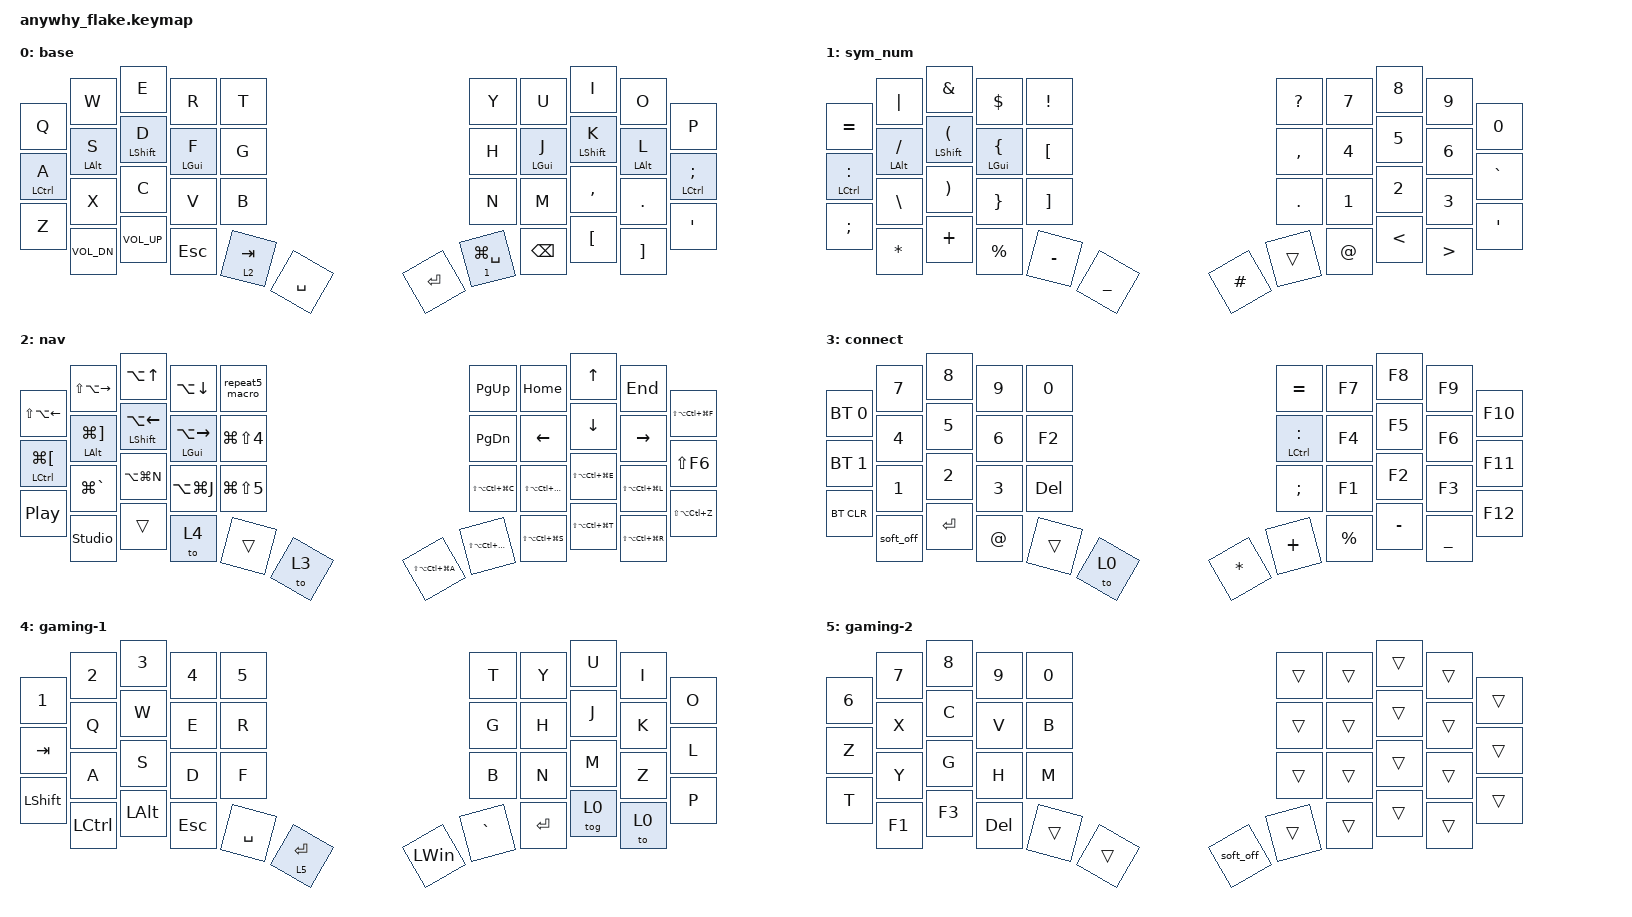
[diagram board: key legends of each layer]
#include <behaviors.dtsi>
#include <dt-bindings/zmk/bt.h>
#include <dt-bindings/zmk/keys.h>

/ {
    combos {
        compatible = "zmk,combos";

        bt_sel_3 {
            bindings = <&bt3>;
            key-positions = <42 30>;
            layers = <2>;
        };

        bt_sel_4 {
            bindings = <&bt4>;
            key-positions = <30 18>;
            layers = <2>;
        };
    };

    macros {
        lm: lm {
            compatible = "zmk,behavior-macro-two-param";
            wait-ms = <0>;
            tap-ms = <0>;
            #binding-cells = <2>;
            bindings =
                <&macro_param_1to1>,
                <&macro_press>,
                <&mo MACRO_PLACEHOLDER &macro_param_2to1>,
                <&macro_press>,
                <&kp MACRO_PLACEHOLDER>,
                <&macro_pause_for_release>,
                <&macro_param_2to1>,
                <&macro_release>,
                <&kp MACRO_PLACEHOLDER &macro_param_1to1>,
                <&macro_release>,
                <&mo MACRO_PLACEHOLDER>;
        };

        repeat5_macro: repeat5_macro {
            compatible = "zmk,behavior-macro";
            #binding-cells = <0>;
            bindings = <&key_repeat &key_repeat &key_repeat &key_repeat &key_repeat>;
            label = "REPEAT5_MACRO";
        };

        switch_to_ru: switch_to_ru {
            compatible = "zmk,behavior-macro";
            label = "SWITCH_TO_RU";
            #binding-cells = <0>;
            bindings = <&tog 3 &kp LG(SPACE)>;
        };

        switch_to_en: switch_to_en {
            compatible = "zmk,behavior-macro";
            label = "SWITCH_TO_EN";
            #binding-cells = <0>;
            bindings = <&tog 0 &kp LG(SPACE)>;
        };

        bt_clr_0: bt_clr_0 {
            compatible = "zmk,behavior-macro";
            #binding-cells = <0>;
            bindings = <&bt BT_SEL 0 &bt BT_CLR>;
            label = "BT_CLR_0";
        };

        bt_clr_1: bt_clr_1 {
            compatible = "zmk,behavior-macro";
            #binding-cells = <0>;
            bindings = <&bt BT_SEL 1 &bt BT_CLR>;
            label = "BT_CLR_1";
        };

        bt_clr_2: bt_clr_2 {
            compatible = "zmk,behavior-macro";
            #binding-cells = <0>;
            bindings = <&bt BT_SEL 2 &bt BT_CLR>;
            label = "BT_CLR_2";
        };

        bt_clr_3: bt_clr_3 {
            compatible = "zmk,behavior-macro";
            #binding-cells = <0>;
            bindings = <&bt BT_SEL 3 &bt BT_CLR>;
            label = "BT_CLR_3";
        };

        bt_clr_4: bt_clr_4 {
            compatible = "zmk,behavior-macro";
            #binding-cells = <0>;
            bindings = <&bt BT_SEL 4 &bt BT_CLR>;
            label = "BT_CLR_4";
        };

        layer_tap_lang: layer_tap_lang {
            compatible = "zmk,behavior-macro-one-param";
            #binding-cells = <1>;
            label = "LAYER_TAP_LANG";
            wait-ms = <0>;
            tap-ms = <0>;
            bindings =
                <&macro_press>,
                <&kp LCTRL &kp LALT>,
                <&macro_tap>,
                <&kp N1>,
                <&macro_release>,
                <&kp LCTRL &kp LALT &macro_param_1to1>,
                <&macro_press>,
                <&mo MACRO_PLACEHOLDER>,
                <&macro_pause_for_release>,
                <&macro_param_1to1>,
                <&macro_release>,
                <&mo MACRO_PLACEHOLDER>,
                <&macro_press>,
                <&kp LCTRL &kp LALT>,
                <&macro_tap>,
                <&kp N3>,
                <&macro_release>,
                <&kp LCTRL &kp LALT>;

            /*
                Hammerspoon script:
                local previousLayout = nil

                function switchToInputSource(layoutName)
                    local currentLayout = hs.keycodes.currentLayout()

                    if currentLayout == layoutName then
                        return
                    end

                    local availableLayouts = hs.keycodes.layouts()

                    for _, layout in ipairs(availableLayouts) do
                        if layout == layoutName then
                            previousLayout = currentLayout
                            hs.keycodes.setLayout(layoutName)
                            return
                        end
                    end
                end

                function switchToPreviousLayout()
                    if previousLayout == nil then
                        return
                    end

                    local availableLayouts = hs.keycodes.layouts()

                    for _, layout in ipairs(availableLayouts) do
                        if layout == previousLayout then
                            hs.keycodes.setLayout(previousLayout)
                            previousLayout = nil
                            return
                        end
                    end

                    previousLayout = nil
                end

                hs.hotkey.bind({"ctrl", "alt"}, "1", function()
                    switchToInputSource("ABC")
                end)

                hs.hotkey.bind({"ctrl", "alt"}, "2", function()
                    switchToInputSource("Russian")
                end)

                hs.hotkey.bind({"ctrl", "alt"}, "3", function()
                    switchToPreviousLayout()
                end)
                */
        };
    };

    behaviors {
        lt_lang: layer_tap_with_lang {
            compatible = "zmk,behavior-hold-tap";
            label = "LAYER_TAP_WITH_LANG";
            #binding-cells = <2>;
            tapping-term-ms = <200>;
            quick-tap-ms = <175>;
            flavor = "tap-preferred";
            bindings = <&layer_tap_lang>, <&kp>;
        };

        hmr: hmr {
            compatible = "zmk,behavior-hold-tap";
            label = "HMR";
            bindings = <&kp>, <&kp>;

            #binding-cells = <2>;
            tapping-term-ms = <200>;
            quick-tap-ms = <175>;
            flavor = "balanced";
            hold-trigger-on-release;
            hold-trigger-key-positions = <0 1 2 3 4 5 12 13 14 15 16 17 24 25 26 27 28 29 36 37 38 39 40 41 42 50 51 52 53 54 55 56 57 58 59 43>;
        };

        hml: hml {
            compatible = "zmk,behavior-hold-tap";
            label = "HML";
            bindings = <&kp>, <&kp>;

            #binding-cells = <2>;
            tapping-term-ms = <200>;
            quick-tap-ms = <175>;
            flavor = "balanced";
            hold-trigger-on-release;
            hold-trigger-key-positions = <6 7 8 9 10 11 18 19 20 21 22 23 30 31 32 33 34 35 44 45 46 47 48 49 55 56 57 58 59 43 42 50 51 52 53 54>;
        };

        lt_tg: lt_tg {
            compatible = "zmk,behavior-hold-tap";
            label = "LAYER_TAP_TOGGLE";
            #binding-cells = <2>;
            tapping-term-ms = <200>;
            quick-tap-ms = <175>;
            flavor = "tap-preferred";
            bindings = <&mo>, <&to>;
        };

        bt0: bt0 {
            compatible = "zmk,behavior-mod-morph";
            label = "BT0";
            bindings = <&bt BT_SEL 0>, <&bt_clr_0>;

            #binding-cells = <0>;
            mods = <(MOD_LSFT|MOD_RSFT)>;
        };

        bt1: bt1 {
            compatible = "zmk,behavior-mod-morph";
            label = "BT1";
            bindings = <&bt BT_SEL 1>, <&bt_clr_1>;

            #binding-cells = <0>;
            mods = <(MOD_LSFT|MOD_RSFT)>;
        };

        bt2: bt2 {
            compatible = "zmk,behavior-mod-morph";
            label = "BT2";
            bindings = <&bt BT_SEL 2>, <&bt_clr_2>;

            #binding-cells = <0>;
            mods = <(MOD_LSFT|MOD_RSFT)>;
        };

        bt3: bt3 {
            compatible = "zmk,behavior-mod-morph";
            label = "BT3";
            bindings = <&bt BT_SEL 3>, <&bt_clr_3>;

            #binding-cells = <0>;
            mods = <(MOD_LSFT|MOD_RSFT)>;
        };

        bt4: bt4 {
            compatible = "zmk,behavior-mod-morph";
            label = "BT4";
            bindings = <&bt BT_SEL 4>, <&bt_clr_4>;

            #binding-cells = <0>;
            mods = <(MOD_LSFT|MOD_RSFT)>;
        };
    };

    keymap {
        compatible = "zmk,keymap";

        base {
            bindings = <
  &kp Q         &kp W            &kp E              &kp R        &kp T        &kp Y      &kp U                 &kp I              &kp O             &kp P
  &hml LCTRL A  &hml LEFT_ALT S  &hml LEFT_SHIFT D  &hml LGUI F  &kp G        &kp H      &hmr LGUI J           &hmr LEFT_SHIFT K  &hmr LEFT_ALT L   &hmr LCTRL SEMI
  &kp Z         &kp X            &kp C              &kp V        &kp B        &kp N      &kp M                 &kp COMMA          &kp DOT           &kp SQT
  &kp C_VOL_DN  &kp C_VOL_UP     &kp ESCAPE         &lt 2 TAB    &kp SPACE    &kp ENTER  &lt_lang 1 LG(SPACE)  &kp BACKSPACE      &kp LEFT_BRACKET  &kp RIGHT_BRACKET
            >;
        };

        sym_num {
            bindings = <
  &kp EQUAL         &kp PIPE             &kp AMPERSAND                &kp DOLLAR            &kp EXCLAMATION      &kp QUESTION  &kp N7  &kp N8  &kp N9         &kp N0
  &hml LCTRL COLON  &hml LEFT_ALT SLASH  &hml LSHFT LEFT_PARENTHESIS  &hml LGUI LEFT_BRACE  &kp LEFT_BRACKET     &kp COMMA     &kp N4  &kp N5  &kp N6         &kp GRAVE
  &kp SEMI          &kp BACKSLASH        &kp RIGHT_PARENTHESIS        &kp RIGHT_BRACE       &kp RIGHT_BRACKET    &kp DOT       &kp N1  &kp N2  &kp N3         &kp SQT
  &kp ASTERISK      &kp PLUS             &kp PERCENT                  &kp MINUS             &kp UNDERSCORE       &kp HASH      &trans  &kp AT  &kp LESS_THAN  &kp GREATER_THAN
            >;
        };

        nav {
            bindings = <
  &kp LS(LA(LEFT_ARROW))       &kp LS(LA(RIGHT_ARROW))      &kp LA(UP_ARROW)            &kp LA(DOWN_ARROW)         &repeat5_macro    &kp PAGE_UP            &kp HOME               &kp UP                 &kp END                &kp LS(LA(LC(LG(F))))
  &hml LCTRL LG(LEFT_BRACKET)  &hml LALT LG(RIGHT_BRACKET)  &hml LSHIFT LA(LEFT_ARROW)  &hml LGUI LA(RIGHT_ARROW)  &kp LG(LS(N4))    &kp PG_DN              &kp LEFT               &kp DOWN               &kp RIGHT              &kp LS(F6)
  &kp C_PP                     &kp LG(GRAVE)                &kp LA(LG(N))               &kp LA(LG(J))              &kp LG(LS(N5))    &kp LS(LA(LC(LG(C))))  &kp LS(LA(LC(LG(M))))  &kp LS(LA(LC(LG(E))))  &kp LS(LA(LC(LG(L))))  &kp LS(LA(LC(Z)))
  &studio_unlock               &trans                       &to 4                       &trans                     &to 3             &kp LS(LA(LC(LG(A))))  &kp LS(LA(LC(LG(W))))  &kp LS(LA(LC(LG(S))))  &kp LS(LA(LC(LG(T))))  &kp LS(LA(LC(LG(R))))
            >;
        };

        connect {
            bindings = <
  &bt BT_SEL 0  &kp N7     &kp N8  &kp N9  &kp NUMBER_0    &kp EQUAL         &kp F7    &kp F8       &kp F9     &kp F10
  &bt BT_SEL 1  &kp N4     &kp N5  &kp N6  &kp F2          &hml LCTRL COLON  &kp F4    &kp F5       &kp F6     &kp F11
  &bt BT_CLR    &kp N1     &kp N2  &kp N3  &kp DELETE      &kp SEMI          &kp F1    &kp F2       &kp F3     &kp F12
  &soft_off     &kp ENTER  &kp AT  &trans  &to 0           &kp ASTERISK      &kp PLUS  &kp PERCENT  &kp MINUS  &kp UNDERSCORE
            >;
        };

        gaming-1 {
            bindings = <
  &kp N1     &kp N2        &kp N3      &kp N4     &kp N5         &kp T         &kp Y      &kp U      &kp I   &kp O
  &kp TAB    &kp Q         &kp W       &kp E      &kp R          &kp G         &kp H      &kp J      &kp K   &kp L
  &kp LSHFT  &kp A         &kp S       &kp D      &kp F          &kp B         &kp N      &kp M      &kp Z   &kp P
  &kp LCTRL  &kp LEFT_ALT  &kp ESCAPE  &kp SPACE  &lt 5 ENTER    &kp LEFT_WIN  &kp GRAVE  &kp ENTER  &tog 0  &to 0
            >;
        };

        gaming-2 {
            bindings = <
  &kp NUMBER_6  &kp NUMBER_7  &kp NUMBER_8  &kp NUMBER_9  &kp NUMBER_0    &trans     &trans  &trans  &trans  &trans
  &kp Z         &kp X         &kp C         &kp V         &kp B           &trans     &trans  &trans  &trans  &trans
  &kp T         &kp Y         &kp G         &kp H         &kp M           &trans     &trans  &trans  &trans  &trans
  &kp F1        &kp F3        &kp DELETE    &trans        &trans          &soft_off  &trans  &trans  &trans  &trans
            >;
        };
    };
};
